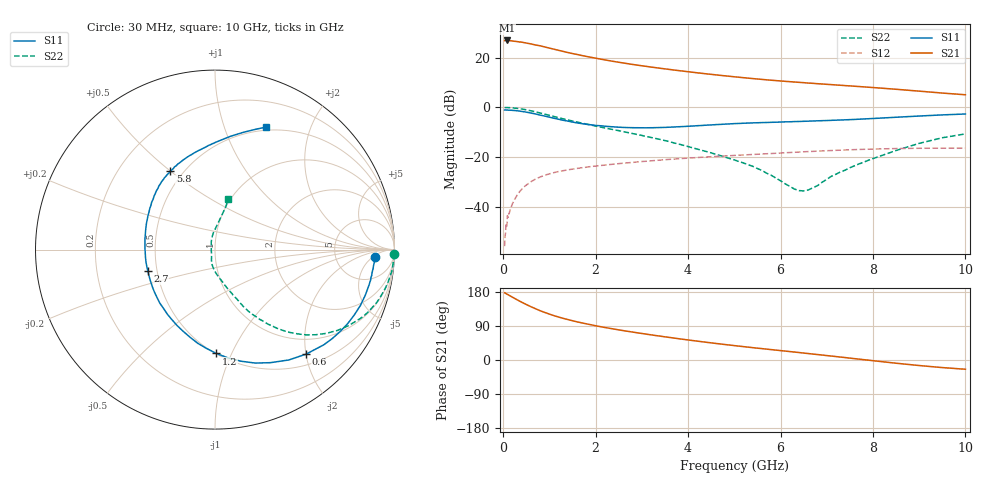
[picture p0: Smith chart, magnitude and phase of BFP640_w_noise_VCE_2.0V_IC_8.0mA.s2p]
! Infineon Technologies  Discrete & RF Semiconductors
! BFP640
! VCE =  2.0 V,  IC =  8.0 mA
! Common Emitter S-Parameters:  Apr 2013
# GHz  S  MA  R  50
!  f  S11  S21  S12  S22
! GHz  MAG  ANG  MAG  ANG  MAG  ANG  MAG  ANG
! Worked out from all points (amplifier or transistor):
!   99 points, 30 MHz to 10 GHz, reference 50 ohm
!   highest |S21| = 27.0 dB at 80 MHz (marker M1)
!   |S21| within 3 dB of that: start of sweep to 980.9 MHz
!   unconditionally stable (mu >= 1): 4.21 GHz to end of sweep
!   at 350 MHz: K = 0.12, MSG = 30.2 dB, |S12| = -34.1 dB
!   at 3.5 GHz: K = 0.94, MSG = 18.3 dB, |S12| = -21.1 dB
!   at 10 GHz: K = 1.11, MAG = 8.7 dB, |S12| = -16.4 dB
!   lowest NFmin = 0.60 dB at 450 MHz
!   S11 on the Smith chart (normalised r, x): 30 MHz: 15, -6; 600 MHz: 0.69, -2.00; 1.2 GHz: 0.50, -0.88; 2.7 GHz: 0.44, -0.13; 5.8 GHz: 0.43, +0.50; 10 GHz: 0.46, +1.40
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0.03  0.8895 -2.5  22.26 177.3  0.0016 103.7  0.9953 -1.4
0.06  0.8896 -5.0  22.41 175.3  0.0045 86.1  0.9978 -3.0
0.08  0.8876 -6.7  22.44 173.9  0.0041 85.8  0.9951 -4.2
0.09  0.8856 -7.6  22.3 173.3  0.0066 86.4  0.9956 -4.7
0.2  0.8751 -16.9  21.91 165.7  0.0115 79.9  0.9813 -10.6
0.4  0.8327 -33.4  20.75 152.4  0.0224 73.5  0.9303 -20.7
0.6  0.7726 -48.9  19.09 140.6  0.0319 65.9  0.8567 -29.6
0.8  0.7015 -63.9  17.5 129.9  0.0397 59.5  0.7744 -37.1
1  0.638 -77.0  15.73 121.1  0.0459 54.6  0.6939 -43.2
1.2  0.5783 -89.3  14.18 113.3  0.0512 50.1  0.6222 -47.9
1.4  0.5312 -100.3  12.8 106.7  0.0554 46.8  0.561 -51.6
1.7  0.4729 -116.5  11.17 98.0  0.0609 43.4  0.4841 -55.8
2  0.4349 -131.5  9.862 90.4  0.066 40.3  0.4225 -59.6
2.2  0.4187 -140.6  9.103 85.8  0.069 38.5  0.3858 -61.8
2.7  0.3931 -162.1  7.624 75.6  0.0767 34.8  0.3117 -65.5
3.4  0.3947 171.6  6.166 62.9  0.0871 30.1  0.2265 -72.4
4.3  0.4337 145.4  4.879 48.2  0.0993 23.8  0.1367 -86.3
5.1  0.4765 129.7  4.07 36.6  0.1093 18.6  0.0812 -102.1
5.8  0.502 119.6  3.544 27.4  0.1179 14.2  0.0429 -116.7
6.7  0.5342 108.0  3.066 15.7  0.1304 7.7  0.0241 147.9
8.5  0.6355 82.5  2.328 -8.5  0.1486 -7.8  0.1358 85.3
10  0.7392 67.4  1.804 -24.4  0.1518 -18.3  0.2936 75.3
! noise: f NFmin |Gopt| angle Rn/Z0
0.45  0.6  0.33  11  0.07
0.9  0.61  0.32  18  0.07
1.5  0.64  0.29  30  0.07
1.9  0.67  0.23  49  0.08
2.4  0.72  0.21  58  0.08
3.5  0.84  0.17  76  0.09
5.5  1.07  0.23  -139  0.1
10  1.69  0.6  -62  0.41
